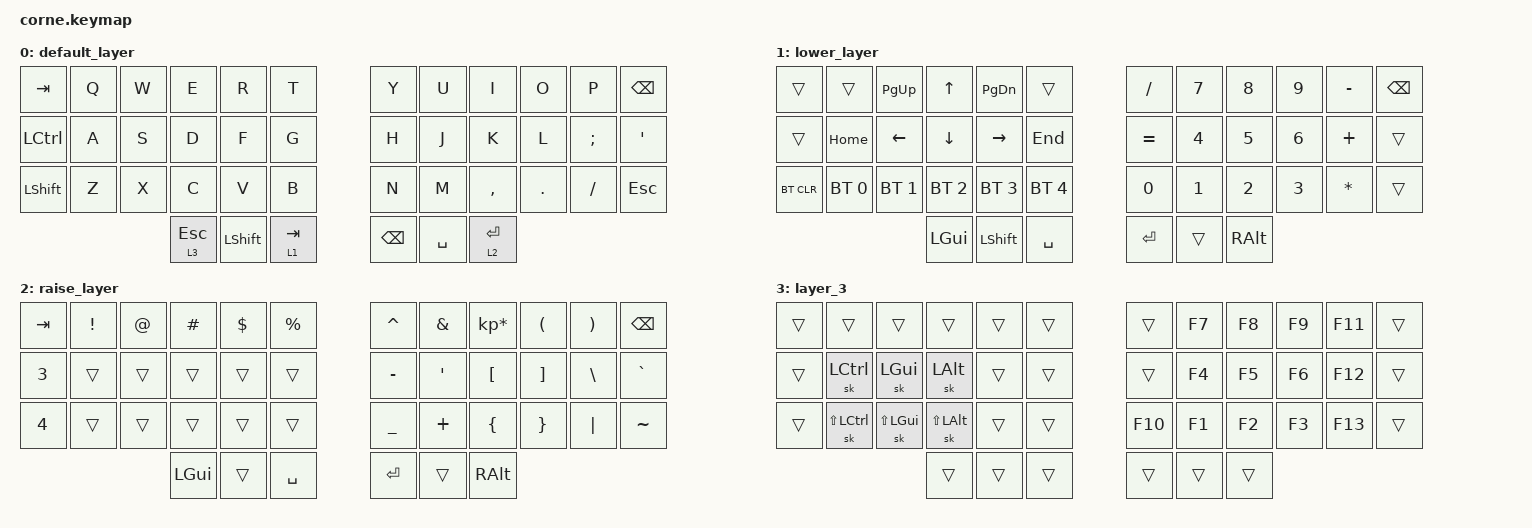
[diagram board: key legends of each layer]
/*
 * Copyright (c) 2020 The ZMK Contributors
 *
 * SPDX-License-Identifier: MIT
 */

#include <behaviors.dtsi>
#include <dt-bindings/zmk/bt.h>
#include <dt-bindings/zmk/keys.h>

/ {
    keymap {
        compatible = "zmk,keymap";

        default_layer {
            // -----------------------------------------------------------------------------------------
            // |  TAB |  Q  |  W  |  E  |  R  |  T  |   |  Y  |  U   |  I  |  O  |  P  | BKSP |
            // | CTRL |  A  |  S  |  D  |  F  |  G  |   |  H  |  J   |  K  |  L  |  ;  |  '   |
            // | SHFT |  Z  |  X  |  C  |  V  |  B  |   |  N  |  M   |  ,  |  .  |  /  | ESC  |
            //                    | GUI | LWR | SPC |   | ENT | RSE  | ALT |

            bindings = <
  &kp TAB  &kp Q  &kp W         &kp E           &kp R      &kp T            &kp Y      &kp U        &kp I    &kp O     &kp P  &kp BSPC
&kp LCTRL  &kp A  &kp S         &kp D           &kp F      &kp G            &kp H      &kp J        &kp K    &kp L  &kp SEMI   &kp SQT
&kp LSHFT  &kp Z  &kp X         &kp C           &kp V      &kp B            &kp N      &kp M    &kp COMMA  &kp DOT  &kp FSLH   &kp ESC
                         &lt 3 ESCAPE  &kp LEFT_SHIFT  &lt 1 TAB    &kp BACKSPACE  &kp SPACE  &lt 2 ENTER
            >;
        };

        lower_layer {
            // -----------------------------------------------------------------------------------------
            // |  TAB |  1  |  2  |  3  |  4  |  5  |   |  6  |  7  |  8  |  9  |  0  | BKSP |
            // | BTCLR| BT1 | BT2 | BT3 | BT4 | BT5 |   | LFT | DWN |  UP | RGT |     |      |
            // | SHFT |     |     |     |     |     |   |     |     |     |     |     |      |
            //                    | GUI |     | SPC |   | ENT |     | ALT |

            bindings = <
    &trans        &trans     &kp PG_UP  &kp UP_ARROW     &kp PG_DN        &trans     &kp FSLH  &kp N7    &kp N8  &kp N9  &kp MINUS  &kp BSPC
    &trans      &kp HOME      &kp LEFT      &kp DOWN     &kp RIGHT       &kp END    &kp EQUAL  &kp N4    &kp N5  &kp N6   &kp PLUS    &trans
&bt BT_CLR  &bt BT_SEL 0  &bt BT_SEL 1  &bt BT_SEL 2  &bt BT_SEL 3  &bt BT_SEL 4       &kp N0  &kp N1    &kp N2  &kp N3  &kp ASTRK    &trans
                                            &kp LGUI     &kp LSHFT     &kp SPACE      &kp RET  &trans  &kp RALT
            >;
        };

        raise_layer {
            // -----------------------------------------------------------------------------------------
            // |  TAB |  !  |  @  |  #  |  $  |  %  |   |  ^  |  &  |  *  |  (  |  )  | BKSP |
            // | CTRL |     |     |     |     |     |   |  -  |  =  |  [  |  ]  |  \  |  `   |
            // | SHFT |     |     |     |     |     |   |  _  |  +  |  {  |  }  | "|" |  ~   |
            //                    | GUI |     | SPC |   | ENT |     | ALT |

            bindings = <
&kp TAB  &kp EXCL  &kp AT  &kp HASH  &kp DLLR  &kp PRCNT    &kp CARET  &kp AMPS  &kp KP_MULTIPLY  &kp LPAR  &kp RPAR   &kp BSPC
 &kp N3    &trans  &trans    &trans    &trans     &trans    &kp MINUS   &kp SQT         &kp LBKT  &kp RBKT  &kp BSLH  &kp GRAVE
 &kp N4    &trans  &trans    &trans    &trans     &trans    &kp UNDER  &kp PLUS         &kp LBRC  &kp RBRC  &kp PIPE  &kp TILDE
                           &kp LGUI    &trans  &kp SPACE      &kp RET    &trans         &kp RALT
            >;
        };

        layer_3 {
            bindings = <
&trans                &trans            &trans            &trans  &trans  &trans     &trans  &kp F7  &kp F8  &kp F9  &kp F11  &trans
&trans      &sk LEFT_CONTROL      &sk LEFT_GUI      &sk LEFT_ALT  &trans  &trans     &trans  &kp F4  &kp F5  &kp F6  &kp F12  &trans
&trans  &sk LS(LEFT_CONTROL)  &sk LS(LEFT_GUI)  &sk LS(LEFT_ALT)  &trans  &trans    &kp F10  &kp F1  &kp F2  &kp F3  &kp F13  &trans
                                                          &trans  &trans  &trans     &trans  &trans  &trans
            >;
        };
    };
};
